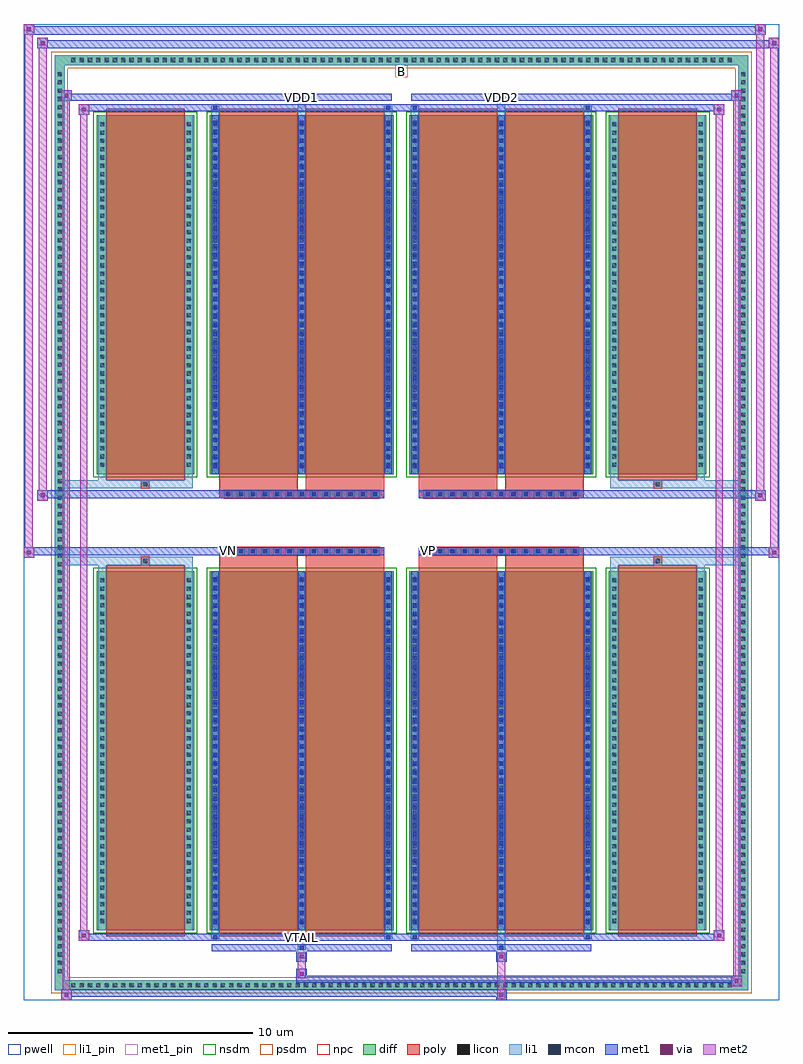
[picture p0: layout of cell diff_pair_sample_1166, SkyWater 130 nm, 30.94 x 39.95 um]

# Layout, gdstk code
import gdstk
lib = gdstk.Library(unit=1e-6, precision=5e-09)
def R(c, l, rs):  # rectangles x0, y0, x1, y1
    for r in rs: c.add(gdstk.rectangle(r[:2], r[2:], *l))
def A(c, l, x, y, w, h, nx, ny, dx, dy):  # array of equal rectangles
    R(c, l, [(x+i*dx, y+j*dy, x+i*dx+w, y+j*dy+h) for i in range(nx) for j in range(ny)])
def P(c, l, *ps):  # polygons
    for p in ps: c.add(gdstk.Polygon(p, *l))
pwell = (64, 44)
diff = (65, 20)
poly = (66, 20)
licon = (66, 44)
li1_pin = (67, 16)
li1 = (67, 20)
mcon = (67, 44)
met1_pin = (68, 16)
met1 = (68, 20)
via = (68, 44)
met2 = (69, 20)
nsdm = (93, 44)
psdm = (94, 20)
npc = (95, 20)

diff_pair_sample_1166 = lib.new_cell('diff_pair_sample_1166')
R(diff_pair_sample_1166, pwell, [(-15.47,-19.54,15.47,20.41), (-12.79,-17.73,-0.01,-0.805), (0.01,-17.73,12.79,-0.805), (-12.79,0.805,-0.01,17.73), (0.01,0.805,12.79,17.73)])
A(diff_pair_sample_1166, diff, -13.635, -19.14, 0.41, 0.41, 80, 2, 0.34, 37.87)
A(diff_pair_sample_1166, diff, -14.2, -18.565, 0.41, 0.41, 1, 109, 0, 0.34)
A(diff_pair_sample_1166, diff, 13.79, -18.565, 0.41, 0.41, 1, 109, 0, 0.34)
R(diff_pair_sample_1166, diff, [(-13.635,-19.14,13.635,-18.73), (-14.2,-18.565,-13.79,18.565), (13.79,-18.565,14.2,18.565), (-12.48,-16.685,-8.49,-1.985), (-7.85,-16.685,-0.32,-1.985), (0.32,-16.685,7.85,-1.985), (8.49,-16.685,12.48,-1.985), (-12.48,1.985,-8.49,16.685), (-7.85,1.985,-0.32,16.685), (0.32,1.985,7.85,16.685), (8.49,1.985,12.48,16.685), (-13.635,18.73,13.635,19.14)])
P(diff_pair_sample_1166, diff, [(14.2,19.14),(-14.2,19.14),(-14.2,-18.73),(-13.79,-18.73),(-13.79,18.73),(13.79,18.73),(13.79,-18.73),(-13.79,-18.73),(-14.2,-18.73),(-14.2,-19.14),(14.2,-19.14)])
A(diff_pair_sample_1166, poly, -7.25, -1.335, 0.33, 0.33, 13, 2, 0.5, 2.34)
A(diff_pair_sample_1166, poly, 0.92, -1.335, 0.33, 0.33, 13, 2, 0.5, 2.34)
R(diff_pair_sample_1166, poly, [(-12.09,-16.935,-8.88,-1.735), (-7.46,-16.935,-4.25,-1.735), (-3.92,-16.935,-0.71,-1.735), (0.71,-16.935,3.92,-1.735), (4.25,-16.935,7.46,-1.735), (8.88,-16.935,12.09,-1.735), (-10.65,-1.735,-10.32,-1.405), (-10.65,-1.735,-10.32,-1.405), (-7.46,-1.735,-4.25,-1.335), (-3.92,-1.735,-0.71,-1.335), (0.71,-1.735,3.92,-1.335), (4.25,-1.735,7.46,-1.335), (10.32,-1.735,10.65,-1.405), (10.32,-1.735,10.65,-1.405), (-7.46,-1.335,-0.71,-1.005), (0.71,-1.335,7.46,-1.005), (-7.46,1.005,-0.71,1.335), (0.71,1.005,7.46,1.335), (-7.46,1.335,-4.25,1.735), (-3.92,1.335,-0.71,1.735), (0.71,1.335,3.92,1.735), (4.25,1.335,7.46,1.735), (-10.65,1.405,-10.32,1.735), (-10.65,1.405,-10.32,1.735), (10.32,1.405,10.65,1.735), (10.32,1.405,10.65,1.735), (-12.09,1.735,-8.88,16.935), (-7.46,1.735,-4.25,16.935), (-3.92,1.735,-0.71,16.935), (0.71,1.735,3.92,16.935), (4.25,1.735,7.46,16.935), (8.88,1.735,12.09,16.935)])
A(diff_pair_sample_1166, licon, -13.515, -19.02, 0.17, 0.17, 80, 2, 0.34, 37.87)
A(diff_pair_sample_1166, licon, -14.08, -18.445, 0.17, 0.17, 1, 109, 0, 0.34)
A(diff_pair_sample_1166, licon, 13.91, -18.445, 0.17, 0.17, 1, 109, 0, 0.34)
A(diff_pair_sample_1166, licon, -12.34, -16.39, 0.17, 0.17, 1, 42, 0, 0.34)
A(diff_pair_sample_1166, licon, -8.8, -16.39, 0.17, 0.17, 1, 42, 0, 0.34)
A(diff_pair_sample_1166, licon, -7.71, -16.39, 0.17, 0.17, 3, 42, 3.54, 0.34)
A(diff_pair_sample_1166, licon, 0.46, -16.39, 0.17, 0.17, 3, 42, 3.54, 0.34)
A(diff_pair_sample_1166, licon, 8.63, -16.39, 0.17, 0.17, 1, 42, 0, 0.34)
A(diff_pair_sample_1166, licon, 12.17, -16.39, 0.17, 0.17, 1, 42, 0, 0.34)
A(diff_pair_sample_1166, licon, -7.17, -1.255, 0.17, 0.17, 13, 2, 0.5, 2.34)
A(diff_pair_sample_1166, licon, 1, -1.255, 0.17, 0.17, 13, 2, 0.5, 2.34)
A(diff_pair_sample_1166, licon, -12.34, 2.28, 0.17, 0.17, 1, 42, 0, 0.34)
A(diff_pair_sample_1166, licon, -8.8, 2.28, 0.17, 0.17, 1, 42, 0, 0.34)
A(diff_pair_sample_1166, licon, -7.71, 2.28, 0.17, 0.17, 3, 42, 3.54, 0.34)
A(diff_pair_sample_1166, licon, 0.46, 2.28, 0.17, 0.17, 3, 42, 3.54, 0.34)
A(diff_pair_sample_1166, licon, 8.63, 2.28, 0.17, 0.17, 1, 42, 0, 0.34)
A(diff_pair_sample_1166, licon, 12.17, 2.28, 0.17, 0.17, 1, 42, 0, 0.34)
R(diff_pair_sample_1166, licon, [(-10.57,-1.655,-10.4,-1.485), (10.4,-1.655,10.57,-1.485), (-10.57,1.485,-10.4,1.655), (10.4,1.485,10.57,1.655)])
R(diff_pair_sample_1166, li1_pin, [(-0.25,18.23,0.25,18.73)])
A(diff_pair_sample_1166, li1, -13.595, -19.1, 0.33, 0.33, 80, 2, 0.34, 37.87)
A(diff_pair_sample_1166, li1, -14.16, -18.525, 0.33, 0.33, 1, 109, 0, 0.34)
A(diff_pair_sample_1166, li1, 13.83, -18.525, 0.33, 0.33, 1, 109, 0, 0.34)
A(diff_pair_sample_1166, li1, -7.79, -16.685, 0.33, 14.7, 3, 2, 3.54, 18.67)
A(diff_pair_sample_1166, li1, 0.38, -16.685, 0.33, 14.7, 3, 2, 3.54, 18.67)
A(diff_pair_sample_1166, li1, -12.42, -16.47, 0.33, 0.33, 1, 42, 0, 0.34)
A(diff_pair_sample_1166, li1, -8.88, -16.47, 0.33, 0.33, 1, 42, 0, 0.34)
A(diff_pair_sample_1166, li1, -7.79, -16.47, 0.33, 0.33, 3, 42, 3.54, 0.34)
A(diff_pair_sample_1166, li1, 0.38, -16.47, 0.33, 0.33, 3, 42, 3.54, 0.34)
A(diff_pair_sample_1166, li1, 8.55, -16.47, 0.33, 0.33, 1, 42, 0, 0.34)
A(diff_pair_sample_1166, li1, 12.09, -16.47, 0.33, 0.33, 1, 42, 0, 0.34)
A(diff_pair_sample_1166, li1, -7.71, -16.44, 0.17, 0.17, 3, 40, 3.54, 0.36)
A(diff_pair_sample_1166, li1, -7.71, -16.44, 0.17, 14.21, 3, 2, 3.54, 18.67)
A(diff_pair_sample_1166, li1, 0.46, -16.44, 0.17, 0.17, 3, 40, 3.54, 0.36)
A(diff_pair_sample_1166, li1, 0.46, -16.44, 0.17, 14.21, 3, 2, 3.54, 18.67)
A(diff_pair_sample_1166, li1, -7.25, -1.335, 0.33, 0.33, 13, 2, 0.5, 2.34)
A(diff_pair_sample_1166, li1, 0.92, -1.335, 0.33, 0.33, 13, 2, 0.5, 2.34)
A(diff_pair_sample_1166, li1, -12.42, 2.2, 0.33, 0.33, 1, 42, 0, 0.34)
A(diff_pair_sample_1166, li1, -8.88, 2.2, 0.33, 0.33, 1, 42, 0, 0.34)
A(diff_pair_sample_1166, li1, -7.79, 2.2, 0.33, 0.33, 3, 42, 3.54, 0.34)
A(diff_pair_sample_1166, li1, 0.38, 2.2, 0.33, 0.33, 3, 42, 3.54, 0.34)
A(diff_pair_sample_1166, li1, 8.55, 2.2, 0.33, 0.33, 1, 42, 0, 0.34)
A(diff_pair_sample_1166, li1, 12.09, 2.2, 0.33, 0.33, 1, 42, 0, 0.34)
A(diff_pair_sample_1166, li1, -7.71, 2.23, 0.17, 0.17, 3, 40, 3.54, 0.36)
A(diff_pair_sample_1166, li1, 0.46, 2.23, 0.17, 0.17, 3, 40, 3.54, 0.36)
R(diff_pair_sample_1166, li1, [(-14.2,-19.14,-13.79,-18.73), (-14.2,-19.14,-13.79,-18.73), (-13.79,-19.14,13.79,-18.73), (13.79,-19.14,14.2,-18.73), (13.79,-19.14,14.2,-18.73), (-14.2,-18.73,-13.79,18.73), (13.79,-18.73,14.2,18.73), (-4.25,-17.49,-3.92,-16.685), (-4.17,-17.49,-4,-17.32), (3.92,-17.49,4.25,-16.685), (4,-17.49,4.17,-17.32), (-7.79,-17.06,-7.46,-16.685), (-7.71,-17.06,-7.54,-16.89), (-0.71,-17.06,-0.38,-16.685), (-0.63,-17.06,-0.46,-16.89), (0.38,-17.06,0.71,-16.685), (0.46,-17.06,0.63,-16.89), (7.46,-17.06,7.79,-16.685), (7.54,-17.06,7.71,-16.89), (-12.42,-16.685,-12.09,-1.985), (-8.88,-16.685,-8.55,-1.985), (8.55,-16.685,8.88,-1.985), (12.09,-16.685,12.42,-1.985), (-12.42,-1.985,-12.09,-1.405), (-8.88,-1.985,-8.55,-1.405), (8.55,-1.985,8.88,-1.405), (12.09,-1.985,12.42,-1.405), (-14.2,-1.735,-10.65,-1.405), (-12.42,-1.735,-10.65,-1.405), (-10.65,-1.735,-10.32,-1.405), (-10.32,-1.735,-8.55,-1.405), (8.55,-1.735,10.32,-1.405), (10.32,-1.735,10.65,-1.405), (10.32,-1.735,14.2,-1.405), (10.65,-1.735,12.42,-1.405), (-14.2,1.405,-10.65,1.735), (-12.42,1.405,-10.65,1.735), (-12.42,1.405,-12.09,1.985), (-10.65,1.405,-10.32,1.735), (-10.32,1.405,-8.55,1.735), (-8.88,1.405,-8.55,1.985), (8.55,1.405,10.32,1.735), (8.55,1.405,8.88,1.985), (10.32,1.405,10.65,1.735), (10.32,1.405,14.2,1.735), (10.65,1.405,12.42,1.735), (12.09,1.405,12.42,1.985), (-12.42,1.985,-12.09,16.685), (-8.88,1.985,-8.55,16.685), (8.55,1.985,8.88,16.685), (12.09,1.985,12.42,16.685), (-7.79,16.685,-7.46,17.06), (-4.25,16.685,-3.92,17.49), (-0.71,16.685,-0.38,17.06), (0.38,16.685,0.71,17.06), (3.92,16.685,4.25,17.49), (7.46,16.685,7.79,17.06), (-7.71,16.89,-7.54,17.06), (-0.63,16.89,-0.46,17.06), (0.46,16.89,0.63,17.06), (7.54,16.89,7.71,17.06), (-4.17,17.32,-4,17.49), (4,17.32,4.17,17.49), (-14.2,18.73,-13.79,19.14), (-14.2,18.73,-13.79,19.14), (-13.79,18.73,13.79,19.14), (13.79,18.73,14.2,19.14), (13.79,18.73,14.2,19.14)])
A(diff_pair_sample_1166, mcon, -7.71, -16.44, 0.17, 0.17, 3, 40, 3.54, 0.36)
A(diff_pair_sample_1166, mcon, 0.46, -16.44, 0.17, 0.17, 3, 40, 3.54, 0.36)
A(diff_pair_sample_1166, mcon, -7.17, -1.255, 0.17, 0.17, 13, 2, 0.5, 2.34)
A(diff_pair_sample_1166, mcon, 1, -1.255, 0.17, 0.17, 13, 2, 0.5, 2.34)
A(diff_pair_sample_1166, mcon, -7.71, 2.23, 0.17, 0.17, 3, 40, 3.54, 0.36)
A(diff_pair_sample_1166, mcon, 0.46, 2.23, 0.17, 0.17, 3, 40, 3.54, 0.36)
R(diff_pair_sample_1166, mcon, [(-4.17,-17.49,-4,-17.32), (4,-17.49,4.17,-17.32), (-7.71,-17.06,-7.54,-16.89), (-0.63,-17.06,-0.46,-16.89), (0.46,-17.06,0.63,-16.89), (7.54,-17.06,7.71,-16.89), (-7.71,16.89,-7.54,17.06), (-0.63,16.89,-0.46,17.06), (0.46,16.89,0.63,17.06), (7.54,16.89,7.71,17.06), (-4.17,17.32,-4,17.49), (4,17.32,4.17,17.49)])
R(diff_pair_sample_1166, met1_pin, [(-4.22,-17.1,-3.95,-16.83), (-7.22,-1.295,-6.95,-1.025), (0.95,-1.295,1.22,-1.025), (-4.22,17.28,-3.95,17.55), (3.95,17.28,4.22,17.55)])
A(diff_pair_sample_1166, met1, -7.77, -16.685, 0.29, 14.7, 3, 2, 3.54, 18.67)
A(diff_pair_sample_1166, met1, 0.4, -16.685, 0.29, 14.7, 3, 2, 3.54, 18.67)
A(diff_pair_sample_1166, met1, -7.77, -16.5, 0.29, 0.29, 3, 40, 3.54, 0.36)
A(diff_pair_sample_1166, met1, 0.4, -16.5, 0.29, 0.29, 3, 40, 3.54, 0.36)
A(diff_pair_sample_1166, met1, -7.23, -1.315, 0.29, 0.29, 13, 2, 0.5, 2.34)
A(diff_pair_sample_1166, met1, 0.94, -1.315, 0.29, 0.29, 13, 2, 0.5, 2.34)
A(diff_pair_sample_1166, met1, -7.77, 2.17, 0.29, 0.29, 3, 40, 3.54, 0.36)
A(diff_pair_sample_1166, met1, 0.4, 2.17, 0.29, 0.29, 3, 40, 3.54, 0.36)
R(diff_pair_sample_1166, met1, [(-13.93,-19.54,-13.5,-19.11), (3.87,-19.54,4.3,-19.11), (-13.93,-19.4,4.3,-19.11), (13.5,-18.97,13.93,-18.54), (-4.3,-18.83,13.93,-18.54), (-4.3,-18.69,-3.87,-18.26), (-4.3,-17.98,-3.87,-17.55), (3.87,-17.98,4.3,-17.55), (-7.77,-17.55,-0.4,-17.26), (-4.23,-17.55,-3.94,-17.26), (0.4,-17.55,7.77,-17.26), (3.94,-17.55,4.23,-17.26), (-13.22,-17.12,-12.79,-16.69), (-13.22,-17.12,-7.77,-16.83), (-7.77,-17.12,-7.48,-16.83), (-7.77,-17.12,-0.4,-16.83), (-0.69,-17.12,-0.4,-16.83), (-0.4,-17.12,0.4,-16.83), (0.4,-17.12,0.69,-16.83), (0.4,-17.12,7.77,-16.83), (7.48,-17.12,7.77,-16.83), (7.77,-17.12,13.22,-16.83), (12.79,-17.12,13.22,-16.69), (-15.47,-1.435,-15.04,-1.005), (15.04,-1.435,15.47,-1.005), (-15.47,-1.335,-0.71,-1.005), (-7.46,-1.335,-0.71,-1.005), (0.71,-1.335,7.46,-1.005), (0.71,-1.335,15.47,-1.005), (-14.9,0.905,-14.47,1.335), (14.47,0.905,14.9,1.335), (-14.9,1.005,-7.46,1.335), (-7.46,1.005,-0.71,1.335), (0.71,1.005,7.46,1.335), (7.46,1.005,14.9,1.335), (-13.22,16.69,-12.79,17.12), (12.79,16.69,13.22,17.12), (-13.22,16.83,-7.77,17.12), (-7.77,16.83,-7.48,17.12), (-7.77,16.83,-0.4,17.12), (-0.69,16.83,-0.4,17.12), (-0.4,16.83,0.4,17.12), (0.4,16.83,0.69,17.12), (0.4,16.83,7.77,17.12), (7.48,16.83,7.77,17.12), (7.77,16.83,13.22,17.12), (-13.93,17.26,-13.5,17.69), (-13.93,17.26,-7.77,17.55), (-7.77,17.26,-0.4,17.55), (-4.23,17.26,-3.94,17.55), (0.4,17.26,7.77,17.55), (3.94,17.26,4.23,17.55), (7.77,17.26,13.93,17.55), (13.5,17.26,13.93,17.69), (-14.9,19.41,-14.47,19.84), (-14.9,19.41,-12.79,19.74), (-12.79,19.41,12.79,19.74), (12.79,19.41,15.47,19.74), (15.04,19.41,15.47,19.84), (-15.47,19.98,-15.04,20.41), (-15.47,19.98,-12.79,20.31), (-12.79,19.98,12.79,20.31), (12.79,19.98,14.9,20.31), (14.47,19.98,14.9,20.41)])
R(diff_pair_sample_1166, via, [(-13.79,-19.4,-13.64,-19.25), (4.01,-19.4,4.16,-19.25), (13.64,-18.83,13.79,-18.68), (-4.16,-18.55,-4.01,-18.4), (-4.16,-17.84,-4.01,-17.69), (4.01,-17.84,4.16,-17.69), (-13.08,-16.98,-12.93,-16.83), (12.93,-16.98,13.08,-16.83), (-15.33,-1.295,-15.18,-1.145), (15.18,-1.295,15.33,-1.145), (-14.76,1.045,-14.61,1.195), (14.61,1.045,14.76,1.195), (-13.08,16.83,-12.93,16.98), (12.93,16.83,13.08,16.98), (-13.79,17.4,-13.64,17.55), (13.64,17.4,13.79,17.55), (-14.76,19.55,-14.61,19.7), (15.18,19.55,15.33,19.7), (-15.33,20.12,-15.18,20.27), (14.61,20.12,14.76,20.27)])
R(diff_pair_sample_1166, met2, [(-13.93,-19.54,-13.5,-19.11), (-13.86,-19.54,-13.57,17.69), (-13.57,-19.54,-13.5,-19.11), (-13.88,-19.49,-13.55,-19.16), (3.92,-19.49,4.25,-19.16), (3.92,-19.16,4.25,-17.93), (13.5,-18.97,13.93,-18.54), (13.57,-18.97,13.86,17.69), (13.86,-18.97,13.93,-18.54), (13.55,-18.92,13.88,-18.59), (-4.25,-18.64,-3.92,-18.31), (-4.25,-18.31,-3.92,-17.93), (-4.25,-17.93,-3.92,-17.6), (3.92,-17.93,4.25,-17.6), (-13.22,-17.12,-12.79,-16.69), (-13.15,-17.12,-12.86,17.12), (-12.86,-17.12,-12.79,-16.69), (12.79,-17.12,13.22,-16.69), (12.86,-17.12,13.15,17.12), (13.15,-17.12,13.22,-16.69), (-13.17,-17.07,-12.84,-16.74), (12.84,-17.07,13.17,-16.74), (-15.47,-1.435,-15.04,-1.005), (-15.42,-1.435,-15.09,20.41), (-15.09,-1.435,-15.04,-1.005), (15.04,-1.435,15.47,-1.005), (15.09,-1.435,15.42,19.84), (15.42,-1.435,15.47,-1.005), (-15.42,-1.385,-15.09,-1.055), (15.09,-1.385,15.42,-1.055), (-14.9,0.905,-14.47,1.335), (-14.85,0.905,-14.52,19.84), (-14.52,0.905,-14.47,1.335), (14.47,0.905,14.9,1.335), (14.52,0.905,14.85,20.41), (14.85,0.905,14.9,1.335), (-14.85,0.955,-14.52,1.285), (14.52,0.955,14.85,1.285), (-13.22,16.69,-12.79,17.12), (-12.86,16.69,-12.79,17.12), (12.79,16.69,13.22,17.12), (13.15,16.69,13.22,17.12), (-13.17,16.74,-12.84,17.07), (12.84,16.74,13.17,17.07), (-13.93,17.26,-13.5,17.69), (-13.57,17.26,-13.5,17.69), (13.5,17.26,13.93,17.69), (13.86,17.26,13.93,17.69), (-13.88,17.31,-13.55,17.64), (13.55,17.31,13.88,17.64), (-14.9,19.41,-14.47,19.84), (-14.52,19.41,-14.47,19.84), (15.04,19.41,15.47,19.84), (15.42,19.41,15.47,19.84), (-14.85,19.46,-14.52,19.79), (15.09,19.46,15.42,19.79), (-15.47,19.98,-15.04,20.41), (-15.09,19.98,-15.04,20.41), (14.47,19.98,14.9,20.41), (14.85,19.98,14.9,20.41), (-15.42,20.03,-15.09,20.36), (14.52,20.03,14.85,20.36)])
R(diff_pair_sample_1166, nsdm, [(-12.61,-16.815,-8.36,-1.855), (-7.98,-16.815,-0.19,-1.855), (0.19,-16.815,7.98,-1.855), (8.36,-16.815,12.61,-1.855), (-12.61,1.855,-8.36,16.815), (-7.98,1.855,-0.19,16.815), (0.19,1.855,7.98,16.815), (8.36,1.855,12.61,16.815)])
P(diff_pair_sample_1166, psdm, [(14.33,19.27),(-14.33,19.27),(-14.33,-18.6),(-13.66,-18.6),(-13.66,18.6),(13.66,18.6),(13.66,-18.6),(-13.66,-18.6),(-14.33,-18.6),(-14.33,-19.27),(14.33,-19.27)])
A(diff_pair_sample_1166, npc, -7.27, -1.355, 0.37, 0.37, 13, 2, 0.5, 2.34)
A(diff_pair_sample_1166, npc, 0.9, -1.355, 0.37, 0.37, 13, 2, 0.5, 2.34)
R(diff_pair_sample_1166, npc, [(-10.67,-1.755,-10.3,-1.385), (10.3,-1.755,10.67,-1.385), (-7.27,-1.355,-6.4,-0.985), (-7.27,-1.355,-6.4,-0.985), (-6.77,-1.355,-5.9,-0.985), (-6.77,-1.355,-5.9,-0.985), (-6.27,-1.355,-5.4,-0.985), (-6.27,-1.355,-5.4,-0.985), (-5.77,-1.355,-4.9,-0.985), (-5.77,-1.355,-4.9,-0.985), (-5.27,-1.355,-4.4,-0.985), (-5.27,-1.355,-4.4,-0.985), (-4.77,-1.355,-3.9,-0.985), (-4.77,-1.355,-3.9,-0.985), (-4.27,-1.355,-3.4,-0.985), (-4.27,-1.355,-3.4,-0.985), (-3.77,-1.355,-2.9,-0.985), (-3.77,-1.355,-2.9,-0.985), (-3.27,-1.355,-2.4,-0.985), (-3.27,-1.355,-2.4,-0.985), (-2.77,-1.355,-1.9,-0.985), (-2.77,-1.355,-1.9,-0.985), (-2.27,-1.355,-1.4,-0.985), (-2.27,-1.355,-1.4,-0.985), (-1.77,-1.355,-0.9,-0.985), (-1.77,-1.355,-0.9,-0.985), (0.9,-1.355,1.77,-0.985), (0.9,-1.355,1.77,-0.985), (1.4,-1.355,2.27,-0.985), (1.4,-1.355,2.27,-0.985), (1.9,-1.355,2.77,-0.985), (1.9,-1.355,2.77,-0.985), (2.4,-1.355,3.27,-0.985), (2.4,-1.355,3.27,-0.985), (2.9,-1.355,3.77,-0.985), (2.9,-1.355,3.77,-0.985), (3.4,-1.355,4.27,-0.985), (3.4,-1.355,4.27,-0.985), (3.9,-1.355,4.77,-0.985), (3.9,-1.355,4.77,-0.985), (4.4,-1.355,5.27,-0.985), (4.4,-1.355,5.27,-0.985), (4.9,-1.355,5.77,-0.985), (4.9,-1.355,5.77,-0.985), (5.4,-1.355,6.27,-0.985), (5.4,-1.355,6.27,-0.985), (5.9,-1.355,6.77,-0.985), (5.9,-1.355,6.77,-0.985), (6.4,-1.355,7.27,-0.985), (6.4,-1.355,7.27,-0.985), (-7.27,0.985,-6.4,1.355), (-7.27,0.985,-6.4,1.355), (-6.77,0.985,-5.9,1.355), (-6.77,0.985,-5.9,1.355), (-6.27,0.985,-5.4,1.355), (-6.27,0.985,-5.4,1.355), (-5.77,0.985,-4.9,1.355), (-5.77,0.985,-4.9,1.355), (-5.27,0.985,-4.4,1.355), (-5.27,0.985,-4.4,1.355), (-4.77,0.985,-3.9,1.355), (-4.77,0.985,-3.9,1.355), (-4.27,0.985,-3.4,1.355), (-4.27,0.985,-3.4,1.355), (-3.77,0.985,-2.9,1.355), (-3.77,0.985,-2.9,1.355), (-3.27,0.985,-2.4,1.355), (-3.27,0.985,-2.4,1.355), (-2.77,0.985,-1.9,1.355), (-2.77,0.985,-1.9,1.355), (-2.27,0.985,-1.4,1.355), (-2.27,0.985,-1.4,1.355), (-1.77,0.985,-0.9,1.355), (-1.77,0.985,-0.9,1.355), (0.9,0.985,1.77,1.355), (0.9,0.985,1.77,1.355), (1.4,0.985,2.27,1.355), (1.4,0.985,2.27,1.355), (1.9,0.985,2.77,1.355), (1.9,0.985,2.77,1.355), (2.4,0.985,3.27,1.355), (2.4,0.985,3.27,1.355), (2.9,0.985,3.77,1.355), (2.9,0.985,3.77,1.355), (3.4,0.985,4.27,1.355), (3.4,0.985,4.27,1.355), (3.9,0.985,4.77,1.355), (3.9,0.985,4.77,1.355), (4.4,0.985,5.27,1.355), (4.4,0.985,5.27,1.355), (4.9,0.985,5.77,1.355), (4.9,0.985,5.77,1.355), (5.4,0.985,6.27,1.355), (5.4,0.985,6.27,1.355), (5.9,0.985,6.77,1.355), (5.9,0.985,6.77,1.355), (6.4,0.985,7.27,1.355), (6.4,0.985,7.27,1.355), (-10.67,1.385,-10.3,1.755), (10.3,1.385,10.67,1.755)])
diff_pair_sample_1166.add(gdstk.Label('VTAIL', (-4.085,-16.965), layer=68, texttype=5))
diff_pair_sample_1166.add(gdstk.Label('VN', (-7.085,-1.16), layer=68, texttype=5))
diff_pair_sample_1166.add(gdstk.Label('VP', (1.085,-1.16), layer=68, texttype=5))
diff_pair_sample_1166.add(gdstk.Label('B', (0,18.48), layer=67, texttype=5))
diff_pair_sample_1166.add(gdstk.Label('VDD2', (4.085,17.415), layer=68, texttype=5))
diff_pair_sample_1166.add(gdstk.Label('VDD1', (-4.085,17.415), layer=68, texttype=5))

lib.write_gds('diff_pair_sample_1166.gds')
